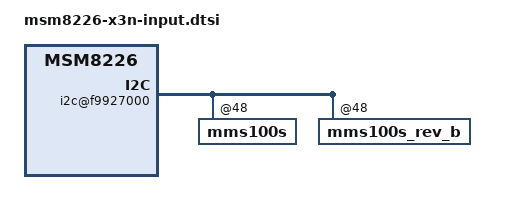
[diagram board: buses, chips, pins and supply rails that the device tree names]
/* Copyright (c) 2013, LGE Electronics. All rights reserved.
 *
 * This program is free software; you can redistribute it and/or modify
 * it under the terms of the GNU General Public License version 2 and
 * only version 2 as published by the Free Software Foundation.
 *
 * This program is distributed in the hope that it will be useful,
 * but WITHOUT ANY WARRANTY; without even the implied warranty of
 * MERCHANTABILITY or FITNESS FOR A PARTICULAR PURPOSE.  See the
 * GNU General Public License for more details.
 */

&soc {
	i2c@f9927000 { /* BLSP1 QUP5 */
		mms100s@48 {
			melfas,product = "I2S45A";
			melfas,auto_fw_update = <1>;
			melfas,use_vdd = <1>;
			melfas,use_vdd_i2c = <1>;
			melfas,fw-image-name = "melfas/x3n_open_eu/x3n_open_eu_rev_a_v04.mfsb";
			melfas,panel-spec-name = "melfas/x3n_open_eu/x3n_open_eu_limit.txt";
			revision = "rev_a";
			status = "ok";
		};

		mms100s_rev_b@48 {
			melfas,product = "I2S45A";
			melfas,auto_fw_update = <1>;
			melfas,use_vdd = <0>;
			melfas,use_vdd_i2c = <0>;
			melfas,gpio-vdd-en = <60>;
			melfas,fw-image-name = "melfas/x3n_open_eu/x3n_open_eu_rev_a_v04.mfsb";
			melfas,panel-spec-name = "melfas/x3n_open_eu/x3n_open_eu_limit.txt";
			revision = "rev_a2...";
			status = "ok";
		};
		lge_touch@48 {
			lge,product = "I2S45A";
			lge,fw-image-name = "melfas/x3n_open_eu/x3n_open_eu_rev_a_v04.mfsb";
			lge,panel_spec = "melfas/x3n_open_eu/x3n_open_eu_limit.txt";
			revision = "rev_a...";
			status = "disable";
		};

		lge_ts_misc {
			revision = "rev_a2...";
			vdd_on = <1>;
			vio_l19_on = <1>;
			vio_lvs1_on = <1>;
			irq_wake = <0>;
			status ="ok";
		};
	};
};
